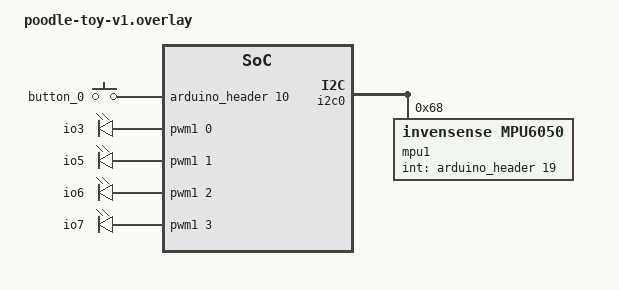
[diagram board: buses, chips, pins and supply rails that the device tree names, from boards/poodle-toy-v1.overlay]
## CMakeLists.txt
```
# SPDX-License-Identifier: Apache-2.0

cmake_minimum_required(VERSION 3.20.0)

find_package(Zephyr REQUIRED HINTS $ENV{ZEPHYR_BASE})
project(puppy_drone)

# Verify that this sample is built through sysbuild to ensure MCUboot is
# automatically included and that sample specific MCUboot configurations are
# used when building MCUboot.
test_sysbuild()

target_sources(app PRIVATE src/main.c src/pid.c)
```

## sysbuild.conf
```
SB_CONFIG_BOOTLOADER_MCUBOOT=y
SB_CONFIG_MCUBOOT_MODE_SINGLE_APP_RAM_LOAD=y
SB_CONFIG_BOOT_SIGNATURE_TYPE_NONE=y
```

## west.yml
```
manifest:
    remotes:
        - name: caninos
          url-base: https://github.com/caninos-loucos

    projects:
        - name: puppy-zephyr
          remote: caninos
          revision: main
          path: zephyr
          import:
              name-allowlist:
                  - mcuboot
                  - zcbor
                  - fatfs
                  - littlefs
```

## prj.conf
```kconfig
# Empty file
CONFIG_CBPRINTF_FP_SUPPORT=y
CONFIG_PWM=y
CONFIG_GPIO=y
CONFIG_I2C=y
CONFIG_SENSOR=y
CONFIG_MPU6050=y
CONFIG_MPU6050_TRIGGER_GLOBAL_THREAD=y

CONFIG_LOG=y
CONFIG_LOG_MODE_MINIMAL=y
```

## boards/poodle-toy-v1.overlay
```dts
/ {
	aliases {
		pwm-motor0 = &pwm_led0;
		pwm-motor1 = &pwm_led1;
		pwm-motor2 = &pwm_led2;
		pwm-motor3 = &pwm_led3;
		button0 = &button_0;
	};

	gpio_keys {
		compatible = "gpio-keys";

		button_0: button_0 {
			gpios = <&arduino_header 10 GPIO_ACTIVE_HIGH>;
		};
	};

	pwmleds {
		compatible = "pwm-leds";

		pwm_led0: pwm_led_0 {
			pwms = <&pwm1 0 2500000 0>;
			label = "io3";
		};

		pwm_led1: pwm_led_1 {
			pwms = <&pwm1 1 2500000 0>;
			label = "io5";
		};

		pwm_led2: pwm_led_2 {
			pwms = <&pwm1 2 2500000 0>;
			label = "io6";
		};

		pwm_led3: pwm_led_3 {
			pwms = <&pwm1 3 2500000 0>;
			label = "io7";
		};
	};
};

&i2c0 {
	mpu1: mpu1@68 {
		compatible = "invensense,mpu6050";
		reg = <0x68>;
		status = "okay";

		/* Resolution / Full-scale configuration */
		accel-fs = <2>;       /* Valid values: 2, 4, 8, 16 (in +/- g) */
		gyro-fs = <250>;      /* Valid values: 250, 500, 1000, 2000 (in +/- deg/s) */

		int-gpios = <&arduino_header 19 GPIO_ACTIVE_HIGH>;

		/* Sample rate divider (baserate / (1 + X)) */
		smplrt-div = <0>;     /* 0 means 1kHz for accel, 8kHz for gyro */
	};
};
```

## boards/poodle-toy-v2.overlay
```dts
/ {
	aliases {
		pwm-motor0 = &pwm_led0;
		pwm-motor1 = &pwm_led1;
		pwm-motor2 = &pwm_led2;
		pwm-motor3 = &pwm_led3;
		button0 = &button_0;
	};

	gpio_keys {
		compatible = "gpio-keys";
		button_0: button_0 {
			gpios = <&arduino_header 10 GPIO_ACTIVE_HIGH>;
		};
	};

	pwmleds {
		compatible = "pwm-leds";
		pwm_led0: pwm_led_0 {
			pwms = <&pwm1 0 2500000 0>;
			label = "io3";
		};
		pwm_led1: pwm_led_1 {
			pwms = <&pwm1 1 2500000 0>;
			label = "io5";
		};
		pwm_led2: pwm_led_2 {
			pwms = <&pwm1 2 2500000 0>;
			label = "io6";
		};
		pwm_led3: pwm_led_3 {
			pwms = <&pwm1 3 2500000 0>;
			label = "io7";
		};
	};
};


&i2c0 {
	mpu1: mpu1@68 {
		compatible = "invensense,mpu6050";
		reg = <0x68>;
		status = "okay";

		/* Resolution / Full-scale configuration */
		accel-fs = <2>;       /* Valid values: 2, 4, 8, 16 (in +/- g) */
		gyro-fs = <250>;      /* Valid values: 250, 500, 1000, 2000 (in +/- deg/s) */

		int-gpios = <&arduino_header 19 GPIO_ACTIVE_HIGH>;

		/* Sample rate divider (baserate / (1 + X)) */
		smplrt-div = <0>;     /* 0 means 1kHz for accel, 8kHz for gyro */
	};
};
```

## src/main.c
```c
/* SPDX-License-Identifier: Apache-2.0
 */

#include <zephyr/drivers/gpio.h>
#include <zephyr/drivers/pwm.h>
#include <zephyr/kernel.h>
#include "drone_model.h"
#include "pid.h"

/* Obter dispositivos da Devicetree */

static const struct device *const imu1 = DEVICE_DT_GET(DT_NODELABEL(mpu1));

static const struct pwm_dt_spec pwm_motor0 =
    PWM_DT_SPEC_GET(DT_ALIAS(pwm_motor0));

static const struct pwm_dt_spec pwm_motor1 =
    PWM_DT_SPEC_GET(DT_ALIAS(pwm_motor1));

static const struct pwm_dt_spec pwm_motor2 =
    PWM_DT_SPEC_GET(DT_ALIAS(pwm_motor2));

static const struct pwm_dt_spec pwm_motor3 =
    PWM_DT_SPEC_GET(DT_ALIAS(pwm_motor3));

static const struct gpio_dt_spec button =
    GPIO_DT_SPEC_GET_OR(DT_ALIAS(button0), gpios, {0});

#define PERIOD 2500000
#define NUM_PWMS 4

static const struct pwm_dt_spec *pwms[NUM_PWMS] = {&pwm_motor0, &pwm_motor1,
                                                   &pwm_motor2, &pwm_motor3};
struct k_mutex motor_mutex;
struct k_work motor_work;

struct drone_model drone;
static struct sensor_trigger data_trigger;

void imu_trig_callback(const struct device *dev,
                       const struct sensor_trigger *trig) {
  if (trig->type == SENSOR_TRIG_DATA_READY) {
    int rc = sensor_sample_fetch_chan(dev, trig->chan);

    if (rc < 0) {
      printf("sample fetch failed: %d\n", rc);
      printf("cancelling trigger due to failure: %d\n", rc);
      (void)sensor_trigger_set(dev, trig, NULL);
    }
    sensor_channel_get(dev, SENSOR_CHAN_ACCEL_XYZ, drone.acc);
    sensor_channel_get(dev, SENSOR_CHAN_GYRO_XYZ, drone.gyro);
    drone.last_sample_timestamp = k_uptime_get();
  }
}

void update_motors_worker(struct k_work *work) {
  ARG_UNUSED(work);

  pwm_set_dt(pwms[0], PERIOD, drone.duty_x_P * PERIOD);
  pwm_set_dt(pwms[1], PERIOD, drone.duty_y_P * PERIOD);
  pwm_set_dt(pwms[2], PERIOD, drone.duty_x_N * PERIOD);
  pwm_set_dt(pwms[3], PERIOD, drone.duty_y_N * PERIOD);

  k_mutex_lock(&motor_mutex, K_FOREVER);

  controller(sensor_value_to_float(&drone.acc[0]),
             sensor_value_to_float(&drone.acc[1]),
             sensor_value_to_float(&drone.acc[2]),
             sensor_value_to_float(&drone.gyro[0]),
             sensor_value_to_float(&drone.gyro[1]),
             &drone.duty_x_P,
             &drone.duty_x_N,
             &drone.duty_y_P,
             &drone.duty_y_N);

  k_mutex_unlock(&motor_mutex);
}

void update_motors_timer(struct k_timer *timer) {
  ARG_UNUSED(timer);
  k_work_submit(&motor_work);
}

K_TIMER_DEFINE(motor_timer, &update_motors_timer, NULL);

int main(void) {
  int ret;
  k_mutex_init(&motor_mutex);
  k_work_init(&motor_work, &update_motors_worker);

  if (!device_is_ready(imu1)) {
    printf("IMU 1 not Ready!\n");
    return 0;
  }

  for (int i = 0; i < NUM_PWMS; i++) {
    if (!pwm_is_ready_dt(pwms[i])) {
      printk("Error: PWM device %s is not ready\n", pwms[i]->dev->name);
      return 0;
    }
  }

  data_trigger = (struct sensor_trigger){
      .type = SENSOR_TRIG_DATA_READY,
      .chan = SENSOR_CHAN_ALL,
  };
  if (sensor_trigger_set(imu1, &data_trigger, &imu_trig_callback) < 0) {
    printf("Cannot configure data trigger!!!\n");
    return 0;
  }

  gpio_pin_configure_dt(&button, GPIO_INPUT);

  for (int i = 0; i < NUM_PWMS; i++) {
    ret = pwm_set_dt(pwms[i], PERIOD, CONNECT_DUTY);
  }

  printk("Connecting ESCs, wait 5 seconds for setup\n");

  k_sleep(K_SECONDS(5));

  k_timer_start(&motor_timer, K_USEC(2500), K_USEC(2500));

  return 0;
}
```

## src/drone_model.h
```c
#ifndef DRONE_MODEL_H
#define DRONE_MODEL_H

#include <zephyr/drivers/sensor.h>

#define CONNECT_DUTY PERIOD * 0.4f
#define BASE_DUTY PERIOD * 0.44f
#define DUTY_MAX PERIOD * 0.7f
#define DUTY_MIN PERIOD * 0.4f

#define Kp_roll  0.005f
#define Kd_roll  0.001f

#define Kp_pitch 0.005f
#define Kd_pitch 0.001f

struct drone_model {
        float duty_x_P;
        float duty_x_N;
        float duty_y_P;
        float duty_y_N;
        struct sensor_value acc[3];
        struct sensor_value gyro[3];
        uint32_t last_sample_timestamp;
};

#endif
```

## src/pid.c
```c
#include "pid.h"
#include "drone_model.h"
#include <math.h>
/*
 * ax, ay, az -> acelerômetro
 * vx, vy     -> giroscópio em graus/s
 */
void controller(float ax, float ay, float az, float vx, float vy,
                float *roll_duty_P, float *roll_duty_N, float *pitch_duty_P, float *pitch_duty_N) {
  /* Calcula orientação assumindo que a aceleração não é maiora que a gravidade
   */
  float roll = atan2f(ay, az) * RAD_TO_DEG;

  float pitch = atan2f(-ax, sqrtf(ay * ay + az * az)) * RAD_TO_DEG;

  /* Referências */
  float roll_ref = 0.0f;
  float pitch_ref = 0.0f;

  /* Erros */
  float roll_error = roll_ref - roll;

  float pitch_error = pitch_ref - pitch;

  /* Controle PD */
  *roll_duty_P = DUTY_REF + Kp_roll * roll_error - Kd_roll * vx;
  *roll_duty_N = DUTY_REF - Kp_roll * roll_error + Kd_roll * vx;

  *pitch_duty_P = DUTY_REF + Kp_pitch * pitch_error - Kd_pitch * vy;
  *pitch_duty_N = DUTY_REF - Kp_pitch * pitch_error + Kd_pitch * vy;

  /* Saturação */
  if (*roll_duty_P > 1.0f)
    *roll_duty_P = 1.0f;

  if (*roll_duty_P < 0.0f)
    *roll_duty_P = 0.0f;

  if (*pitch_duty_P > 1.0f)
    *pitch_duty_P = 1.0f;

  if (*pitch_duty_P < 0.0f)
    *pitch_duty_P = 0.0f;

  if (*roll_duty_N > 1.0f)
    *roll_duty_N = 1.0f;

  if (*roll_duty_N < 0.0f)
    *roll_duty_N = 0.0f;

  if (*pitch_duty_N > 1.0f)
    *pitch_duty_N = 1.0f;

  if (*pitch_duty_N < 0.0f)
    *pitch_duty_N = 0.0f;
}
```

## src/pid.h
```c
#ifndef PID_H
#define PID_H

#define RAD_TO_DEG (180.0f / 3.14159f)

#define DUTY_REF 0.4f

void controller(float ax, float ay, float az, float vx, float vy,
                float *roll_duty_P, float *roll_duty_N, float *pitch_duty_P, float *pitch_duty_N);
#endif 
```
